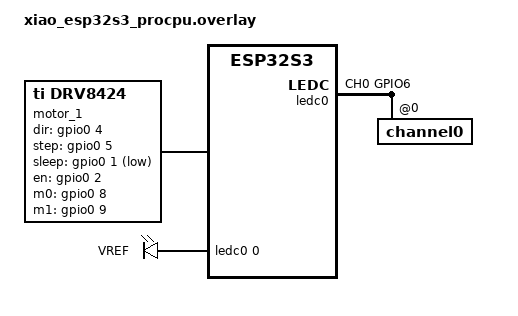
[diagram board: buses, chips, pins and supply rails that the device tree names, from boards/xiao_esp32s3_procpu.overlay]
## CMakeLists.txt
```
cmake_minimum_required(VERSION 3.13.1)
find_package(Zephyr REQUIRED HINTS $ENV{ZEPHYR_BASE})

project(app LANGUAGES C CXX)

# target_compile_options(app PRIVATE -Wall -Werror)

target_sources(app PRIVATE src/main.cpp)
```

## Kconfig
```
# This file is the application Kconfig entry point. All application Kconfig
# options can be defined here or included via other application Kconfig files.
# You can browse these options using the west targets menuconfig (terminal) or
# guiconfig (GUI).

menu "Zephyr"
source "Kconfig.zephyr"
endmenu

module = APP
module-str = APP
source "subsys/logging/Kconfig.template.log_config"
```

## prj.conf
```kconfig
# This file contains selected Kconfig options for the application.

# Bluetooth
CONFIG_BT=y
CONFIG_BT_CENTRAL=y
CONFIG_BT_PERIPHERAL=y
CONFIG_BT_OBSERVER=y
CONFIG_BT_GATT_CLIENT=y
CONFIG_BT_DEVICE_NAME="InsuBox"
CONFIG_BT_DEVICE_NAME_DYNAMIC=y

# Bluetooth Security
CONFIG_BT_SMP=y
CONFIG_BT_SMP_ENFORCE_MITM=y

# Bluetooth Controller
# 1 phone, 1 sensor, 1 pump
CONFIG_BT_MAX_CONN=3
CONFIG_BT_MAX_PAIRED=3
CONFIG_BT_KEYS_OVERWRITE_OLDEST=y

# Bluetooth DIS
CONFIG_BT_DIS=y
CONFIG_BT_DIS_PNP=n
CONFIG_BT_DIS_SERIAL_NUMBER=y
CONFIG_BT_DIS_FW_REV=y
CONFIG_BT_DIS_FW_REV_STR="0.1.0"
CONFIG_BT_DIS_MODEL_NUMBER_STR="InsuBox"
CONFIG_BT_DIS_MANUF_NAME_STR="Arasakeru"

# Bluetooth storage
CONFIG_FLASH=y
CONFIG_FLASH_PAGE_LAYOUT=y
CONFIG_FLASH_MAP=y
CONFIG_NVS=y
CONFIG_SETTINGS=y
CONFIG_SETTINGS_NVS_SECTOR_COUNT=8
CONFIG_BT_SETTINGS=y

# Enable C++ support
CONFIG_CPP=y
CONFIG_STD_CPP17=y
CONFIG_REQUIRES_FULL_LIBCPP=y
CONFIG_POSIX_API=y

# InsuBox modules
CONFIG_IB_BLE_COMM=y
CONFIG_IB_CONTROL=y
CONFIG_IB_HMI=y
CONFIG_IB_PUMP=y
CONFIG_IB_UTILS=y
CONFIG_IB_SFLOAT=y

CONFIG_IB_PUMP_RESERVOIR_VOLUME=310

# memory
CONFIG_SYSTEM_WORKQUEUE_STACK_SIZE=4096
CONFIG_STACK_SENTINEL=y

# logging
CONFIG_LOG=y
CONFIG_PRINTK=y
CONFIG_APP_LOG_LEVEL_DBG=y
CONFIG_FPU=y
CONFIG_LOG_BLOCK_IN_THREAD=y
CONFIG_THREAD_NAME=y
CONFIG_THREAD_ANALYZER=y
CONFIG_THREAD_ANALYZER_AUTO=y
CONFIG_THREAD_ANALYZER_RUN_UNLOCKED=y
CONFIG_THREAD_RUNTIME_STATS=n
CONFIG_SYS_HEAP_RUNTIME_STATS=y
```

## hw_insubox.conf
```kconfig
CONFIG_IB_PUMP_INSUBOX=y

CONFIG_IB_HMI_INSUBOX=y
CONFIG_LV_Z_MEM_POOL_SIZE=16384
CONFIG_LV_Z_BITS_PER_PIXEL=16
CONFIG_LV_COLOR_DEPTH_16=y
```

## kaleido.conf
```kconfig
CONFIG_IB_CONTROL_KALEIDO=y
CONFIG_IB_HMI_VIRTUAL=y
CONFIG_IB_PUMP_VIRTUAL=y
CONFIG_BT_SMP_ENFORCE_MITM=n
```

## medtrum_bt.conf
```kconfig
# This files contains the configuration to include the Medtrum BT insulin pump driver

CONFIG_IB_PUMP_MEDTRUM_BT=y
```

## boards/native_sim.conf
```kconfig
CONFIG_LV_COLOR_DEPTH_32=y
CONFIG_LV_Z_MEM_POOL_SIZE=24576
CONFIG_IB_HMI_INSUBOX=y
```

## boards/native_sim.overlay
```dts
#include <zephyr/dt-bindings/input/input-event-codes.h>
#include <zephyr/dt-bindings/lvgl/lvgl.h>

/ {
	keys: keys {
		compatible = "gpio-keys";
		button_up: button_up {
			gpios = <&gpio0 1 GPIO_ACTIVE_HIGH>;
			zephyr,code = <INPUT_KEY_UP>;
		};
		button_down: button_down {
			gpios = <&gpio0 2 GPIO_ACTIVE_HIGH>;
			zephyr,code = <INPUT_KEY_DOWN>;
		};

		button_enter: button_enter {
			gpios = <&gpio0 3 GPIO_ACTIVE_HIGH>;
			zephyr,code = <INPUT_KEY_ENTER>;
		};
	};

	lvgl_keypad_input {
		compatible = "zephyr,lvgl-keypad-input";
		input = <&keys>;
		input-codes = <INPUT_KEY_UP INPUT_KEY_DOWN INPUT_KEY_ENTER>;
		lvgl-codes = <LV_KEY_LEFT LV_KEY_RIGHT LV_KEY_ENTER>;
	};
};

&gpio0 {
	ngpios = <4>;

	sdl_gpio {
		status = "okay";
		compatible = "zephyr,gpio-emul-sdl";
		// skip, up, down, enter
		scancodes = <0 82 81 40>;
	};
};

&sdl_dc {
	compatible = "zephyr,sdl-dc";
	height = <76>;
	width = <284>;
};
```

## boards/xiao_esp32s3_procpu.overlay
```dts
#include <zephyr/dt-bindings/gpio/gpio.h>
#include <zephyr/dt-bindings/pwm/pwm.h>

/ {
	 zephyr,user {
		 stepper-motors = <&motor_1 0>;
	 };
};

/ {
	 motor_1: motor_1 {
		 status = "okay";
		 compatible = "ti,drv8424";

		 dir-gpios = <&gpio0 4 0>;
		 step-gpios = <&gpio0 5 0>; 
		 sleep-gpios = <&gpio0 1 GPIO_ACTIVE_LOW>;
		 en-gpios  = <&gpio0 2 0>; 
		 m0-gpios = <&gpio0 8 0>; // TODO: We should be able to remove this somehow, as we have hardcoded this in the hw
		 m1-gpios = <&gpio0 9 0>;
		//  counter = <&timer2>;

		 #address-cells = <1>;
		 #size-cells = <0>;
		 #stepper-motor-cells = <0>;
	 };
};

// &timer2 {
// 	 status = "okay";
// 	 prescaler = <10>;
// };

/ {
	aliases {
		pwm-0 = &ledc0;
		pwm-step-vref = &pwm_step_vref;
	};

	pwmleds {
		compatible = "pwm-leds";
		pwm_step_vref: pwm_led_gpio0_6 {
			label = "VREF";
			pwms = <&ledc0 0 1000 PWM_POLARITY_NORMAL>;
		};
	};
};

&pinctrl {
	ledc0_default: ledc0_default {
		group1 {
			pinmux = <LEDC_CH0_GPIO6>;
			output-enable;
		};
	};
};

&ledc0 {
	pinctrl-0 = <&ledc0_default>;
	pinctrl-names = "default";
	status = "okay";
	#address-cells = <1>;
	#size-cells = <0>;
	channel0@0 {
		reg = <0x0>;
		timer = <0>;
	};
};
```

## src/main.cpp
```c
#include <ble/BLEComm.h>
#include <control/ControlService.h>
#include <hmi/HmiService.h>
#include <pump/PumpService.h>

namespace
{
    EventDispatcher eventDispatcher;
    ControlService controlService(eventDispatcher);
    PumpService pumpService(eventDispatcher);
    HmiService hmiService(eventDispatcher);
}

int main(void)
{
    BLEComm::init(&eventDispatcher);
    pumpService.init();
    controlService.init();
    hmiService.init();

    return 0;
}
```
